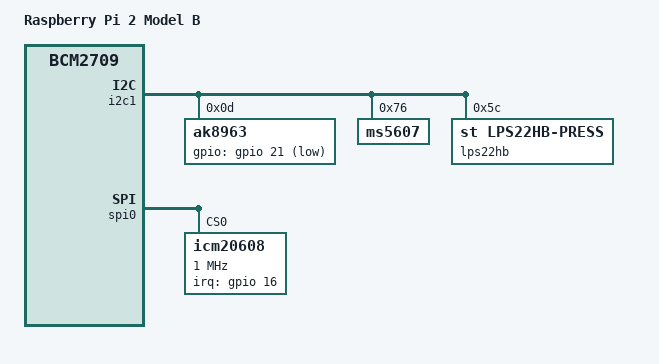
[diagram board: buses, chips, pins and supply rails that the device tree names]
#include "bcm2709-rpi-2-b.dts"
#include "dt-bindings//interrupt-controller/irq.h"

/ {
        /* Main board it is compatible with */
	compatible = "brcm,bcm2709";
	model = "Raspberry Pi 2 Model B";
};

&i2c1 {
	status = "okay";

	/* magnetometer */
	ak8963@0d {
		status = "okay";
		compatible = "ak8963";
		reg = <0x0d>;
		gpios = <&gpio 21 1>;
		/*
		 * 3D space rotation matrix to apply to correct
		 * positional deviation from drone chassis
		 */
		mount-matrix = "0",  /* x0 */
			       "-1", /* y0 */
			       "0",  /* z0 */
			       "1",  /* x1 */
			       "0",  /* y1 */
			       "0",  /* z1 */
			       "0",  /* x2 */
			       "0",  /* y2 */
			       "1";  /* z2 */
	};

	/* barometer */
	ms5607@76 {
		status = "okay";
		compatible = "ms5607";
		reg = <0x76>;
	};

	/* barometer */
	lps22hb@5c {
		status = "okay";
		compatible = "st,lps22hb-press";
		reg = <0x5c>;
		/* interrupt-parent = <&gpio>;
		interrupts = <12 IRQ_TYPE_EDGE_RISING>;
		st,drdy-int-pin = <1>;*/
	};
};

&spi0 {
	status = "okay";

	spidev@0 {
		status = "disabled";
	};

	/* imu */
	icm20608@0 {
		status = "okay";
		compatible = "icm20608";
		reg = <0>;
		spi-max-frequency = <1000000>;
		interrupt-parent = <&gpio>;
		interrupts = <16 IRQ_TYPE_EDGE_RISING>;
	};
};
